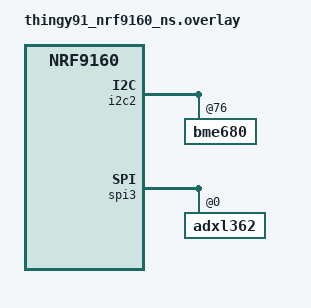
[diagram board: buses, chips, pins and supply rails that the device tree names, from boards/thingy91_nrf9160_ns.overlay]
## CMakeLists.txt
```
#
# Copyright (c) 2021 Nordic Semiconductor ASA
#
# SPDX-License-Identifier: LicenseRef-Nordic-5-Clause
#

list(APPEND ZEPHYR_EXTRA_MODULES
  ${CMAKE_CURRENT_SOURCE_DIR}/ina3221
  )

cmake_minimum_required(VERSION 3.20.0)

find_package(Zephyr REQUIRED HINTS $ENV{ZEPHYR_BASE})
project(asset_tracker_v2)
zephyr_compile_definitions(PROJECT_NAME=${PROJECT_NAME})

# NORDIC SDK APP START
target_sources(app PRIVATE src/main.c)
# NORDIC SDK APP END

# Include source directory
target_include_directories(app PRIVATE src)
target_include_directories(app PRIVATE include/${BOARD}/)
zephyr_include_directories_ifdef(CONFIG_MEMFAULT configuration/memfault)

# Application directories
add_subdirectory(src/modules)
add_subdirectory(src/events)

add_subdirectory_ifdef(CONFIG_CLOUD_MODULE src/cloud)
add_subdirectory_ifdef(CONFIG_SENSOR_MODULE src/ext_sensors)
add_subdirectory_ifdef(CONFIG_WATCHDOG_APPLICATION src/watchdog)

# Include nRF modem library header file for PC builds.
# These are used throughout the application in type definitions.
if (CONFIG_BOARD_QEMU_X86 OR CONFIG_BOARD_NATIVE_POSIX)
        target_include_directories(app PRIVATE ${NRFXLIB_DIR}/nrf_modem/include/)

        # Make folder containing certificates global so that it can be located by the configured
        # cloud library.
        zephyr_include_directories(src/cloud-certs)

        target_compile_options(app PRIVATE
	        -DCONFIG_LTE_NEIGHBOR_CELLS_MAX=10)
endif()
```

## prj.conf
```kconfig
#
# Copyright (c) 2021 Nordic Semiconductor ASA
#
# SPDX-License-Identifier: LicenseRef-Nordic-5-Clause
#

# General config
CONFIG_PICOLIBC=y
CONFIG_ASSERT=y
CONFIG_REBOOT=y
CONFIG_FPU=y

# Heap and stacks
CONFIG_HEAP_MEM_POOL_SIZE=47250
CONFIG_MAIN_STACK_SIZE=2048
CONFIG_SYSTEM_WORKQUEUE_STACK_SIZE=4096
CONFIG_HW_STACK_PROTECTION=y
# Increase AT monitor heap size to be able to fit both neighbor cell measurement
# and other AT notifications that may come in rapid succession.
CONFIG_AT_MONITOR_HEAP_SIZE=1024

# Logging
CONFIG_LOG=y
CONFIG_LOG_MODE_DEFERRED=y

# nRF modem library
CONFIG_NRF_MODEM_LIB=y
CONFIG_NRF_MODEM_LIB_ON_FAULT_APPLICATION_SPECIFIC=y

# AT Host library - Used to send AT commands directy from an UART terminal and to allow
#		    integration with nRF Connect for Desktop LTE Link monitor application.
CONFIG_AT_HOST_LIBRARY=y

# Network
CONFIG_NETWORKING=y
CONFIG_NET_NATIVE=n
CONFIG_NET_SOCKETS=y
CONFIG_NET_SOCKETS_OFFLOAD=y
CONFIG_NET_IPV6=y
CONFIG_NET_IPV4=y

# LTE link control
## Power saving timers.
### 320 hours PSM.
CONFIG_LTE_PSM_REQ=y
CONFIG_LTE_PSM_REQ_RPTAU="11000001"
### 20 seconds active time.
CONFIG_LTE_PSM_REQ_RAT="00001010"

# Settings - Used to store real-time device configuration to flash.
CONFIG_SETTINGS=y
CONFIG_SETTINGS_FCB=y
CONFIG_FCB=y

# FOTA
CONFIG_FOTA_DOWNLOAD=y
CONFIG_DFU_TARGET=y
CONFIG_DOWNLOAD_CLIENT=y
CONFIG_DOWNLOAD_CLIENT_HTTP_FRAG_SIZE_1024=y
CONFIG_DOWNLOAD_CLIENT_STACK_SIZE=4096
CONFIG_DOWNLOAD_CLIENT_BUF_SIZE=2300
CONFIG_DOWNLOAD_CLIENT_MAX_HOSTNAME_SIZE=128

# Flash - Used in FOTA, settings and storage for P-GPS.
CONFIG_FLASH=y
CONFIG_FLASH_PAGE_LAYOUT=y
CONFIG_FLASH_MAP=y
CONFIG_STREAM_FLASH=y
CONFIG_MPU_ALLOW_FLASH_WRITE=y

# MCUBOOT
CONFIG_BOOTLOADER_MCUBOOT=y
CONFIG_IMG_MANAGER=y
CONFIG_MCUBOOT_IMG_MANAGER=y
CONFIG_IMG_ERASE_PROGRESSIVELY=y
CONFIG_SECURE_BOOT=y
CONFIG_BUILD_S1_VARIANT=y

# Watchdog
CONFIG_WATCHDOG_APPLICATION=y

# Application Event Manager
CONFIG_APP_EVENT_MANAGER=y
CONFIG_APP_EVENT_MANAGER_LOG_EVENT_TYPE=n

# cJSON - Used in cloud data encoding.
CONFIG_CJSON_LIB=y

# CAF - Common Application Framework
CONFIG_CAF=y
CONFIG_LED=y
CONFIG_CAF_LEDS=y
CONFIG_CAF_INIT_LOG_LED_READY_EVENTS=n
CONFIG_CAF_INIT_LOG_LED_EVENTS=n
CONFIG_CAF_INIT_LOG_MODULE_STATE_EVENTS=n

# Location related configuration
CONFIG_LOCATION=y
CONFIG_LOCATION_REQUEST_DEFAULT_METHOD_FIRST_GNSS=y
CONFIG_LOCATION_REQUEST_DEFAULT_METHOD_SECOND_CELLULAR=y
CONFIG_LOCATION_REQUEST_DEFAULT_GNSS_TIMEOUT=90000
CONFIG_LOCATION_DATA_DETAILS=y
CONFIG_LOCATION_LOG_LEVEL_WRN=y

# Default cloud transport service
CONFIG_NRF_CLOUD_MQTT=y
CONFIG_HW_ID_LIBRARY=y
CONFIG_HW_ID_LIBRARY_SOURCE_IMEI=y

CONFIG_CLOUD_CLIENT_ID_IMEI_PREFIX="oob-"
CONFIG_MQTT_HELPER_SEC_TAG=4242
CONFIG_NRF_CLOUD_SEC_TAG=4242

CONFIG_BME680=n
CONFIG_BME68X_IAQ=y
```

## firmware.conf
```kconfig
CONFIG_MEMFAULT_NCS_PROJECT_KEY="m8U6bBczNz1N8Xi3M8kAKjAMKu9833YA"
CONFIG_DEBUG_MODULE_MEMFAULT_CHUNK_SIZE_MAX=1024
CONFIG_DEBUG_MODULE_MEMFAULT_HEARTBEAT_INTERVAL_SEC=1800
CONFIG_AWS_IOT_BROKER_HOST_NAME="iot.thingy.rocks"
CONFIG_DEBUG_MODULE_MEMFAULT_UPDATES_MIN_INTERVAL_SEC=30
CONFIG_MEMFAULT_NCS_IMPLEMENT_METRICS_COLLECTION=n
CONFIG_MQTT_KEEPALIVE=180
```

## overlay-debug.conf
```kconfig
#
# Copyright (c) 2021 Nordic Semiconductor ASA
#
# SPDX-License-Identifier: LicenseRef-Nordic-5-Clause
#

# Forces a maximal log level for all modules.
# Modules saturates their specified level if it is greater than this option,
# otherwise they use the level specified by this option instead of their default
# or whatever was manually set. Levels are:
#
# 0 OFF, logging is turned off
# 1 ERROR, maximal level set to LOG_LEVEL_ERR
# 2 WARNING, maximal level set to LOG_LEVEL_WRN
# 3 INFO, maximal level set to LOG_LEVEL_INFO
# 4 DEBUG, maximal level set to LOG_LEVEL_DBG
CONFIG_LOG_MAX_LEVEL=4

# Increase log buffer size to prevent logs being dropped.
CONFIG_LOG_BUFFER_SIZE=2048

# Disable routing of printk() through the logging subsystem.
# This is a workaround to ensure that long strings are printed properly.
CONFIG_LOG_PRINTK=n

# Module debug configurations.
CONFIG_APPLICATION_MODULE_LOG_LEVEL_DBG=y
CONFIG_CLOUD_MODULE_LOG_LEVEL_DBG=y
CONFIG_DATA_MODULE_LOG_LEVEL_DBG=y
CONFIG_LOCATION_MODULE_LOG_LEVEL_DBG=y
CONFIG_MODEM_MODULE_LOG_LEVEL_DBG=y
CONFIG_SENSOR_MODULE_LOG_LEVEL_DBG=y
CONFIG_UI_MODULE_LOG_LEVEL_DBG=y
CONFIG_UTIL_MODULE_LOG_LEVEL_DBG=y
CONFIG_DEBUG_MODULE_LOG_LEVEL_DBG=y

# Cloud integration layer debug logging
CONFIG_CLOUD_INTEGRATION_LOG_LEVEL_DBG=y

# Application Watchdog debug logging
CONFIG_WATCHDOG_LOG_LEVEL_DBG=y

# Cloud codec debug logging
CONFIG_CLOUD_CODEC_LOG_LEVEL_DBG=y

# Location library
CONFIG_LOCATION_LOG_LEVEL_DBG=y

# nRF Cloud
CONFIG_NRF_CLOUD_LOG_LEVEL_DBG=y

# Date time
CONFIG_DATE_TIME_LOG_LEVEL_DBG=y

# Settings
CONFIG_SETTINGS_LOG_LEVEL_DBG=y

# Flash
CONFIG_STREAM_FLASH_LOG_LEVEL_DBG=y

# Debug module
CONFIG_DEBUG_MODULE=y

# QoS library
CONFIG_QOS_LOG_LEVEL_DBG=y
CONFIG_NRF_MODEM_LIB_TRACE=y
```

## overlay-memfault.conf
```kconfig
#
# Copyright (c) 2021 Nordic Semiconductor ASA
#
# SPDX-License-Identifier: LicenseRef-Nordic-5-Clause
#

CONFIG_MEMFAULT=y
CONFIG_MEMFAULT_NCS_PROJECT_KEY=""
CONFIG_MEMFAULT_NCS_DEVICE_ID_IMEI=y
CONFIG_MEMFAULT_NCS_LTE_METRICS=y
CONFIG_MEMFAULT_NCS_STACK_METRICS=y
CONFIG_MEMFAULT_LOGGING_ENABLE=y

CONFIG_MEMFAULT_ROOT_CERT_STORAGE_NRF9160_MODEM=y
# There is a race with the credential provisioning and starting LTE network search if automatic
# provisioning is used. Therefore it's disabled, and the app controls it.
CONFIG_MEMFAULT_NCS_PROVISION_CERTIFICATES=n
CONFIG_MODEM_KEY_MGMT=y

CONFIG_MEMFAULT_COREDUMP_COLLECT_BSS_REGIONS=y

# Increase the stack size of the system workqueue in case Memfault is enabled. If the debug module
# is configured to forward Memfault data via an external transport the data will be carried on
# the system workqueue using Application Event Manager events.
CONFIG_SYSTEM_WORKQUEUE_STACK_SIZE=3584
CONFIG_DEBUG_MODULE=y

# Increase the event storage size so that all metrics generated by the asset tracker application
# are reliably sent to the memfault cloud.
CONFIG_MEMFAULT_EVENT_STORAGE_SIZE=2048

# Tune config for thingy world demo
CONFIG_DEBUG_MODULE_MEMFAULT_HEARTBEAT_INTERVAL_SEC=1800
CONFIG_DEBUG_MODULE_MEMFAULT_CHUNK_SIZE_MAX=1024
CONFIG_DEBUG_MODULE_MEMFAULT_UPDATES_MIN_INTERVAL_SEC=30
CONFIG_MEMFAULT_NCS_IMPLEMENT_METRICS_COLLECTION=n
CONFIG_MQTT_KEEPALIVE=180
```

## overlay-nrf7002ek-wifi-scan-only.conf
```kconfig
#
# Copyright (c) 2022 Nordic Semiconductor ASA
#
# SPDX-License-Identifier: LicenseRef-Nordic-5-Clause
#

# Overlay to use nRF7002 EK on top of nrf91 DK for Wi-Fi scanning

# Disable modem traces as UART1 is disabled
CONFIG_NRF_MODEM_LIB_TRACE=n

# Does not work with buttons and LEDs
CONFIG_UI_MODULE=n
CONFIG_SENSOR_MODULE=n
CONFIG_LED_CONTROL=n
CONFIG_LED=n
CONFIG_LED_GPIO=n
CONFIG_CAF_LEDS=n
CONFIG_DK_LIBRARY=n

# Actual configs for the Wi-Fi
CONFIG_WIFI=y
CONFIG_WIFI_NRF700X=y
# Align this with CONFIG_LOCATION_METHOD_WIFI_SCANNING_RESULTS_MAX_CNT
CONFIG_WIFI_MGMT_SCAN_MAX_BSS_CNT=10

# Wi-Fi location
CONFIG_LOCATION_METHOD_WIFI=y
CONFIG_LOCATION_METHOD_GNSS=n
CONFIG_LOCATION_REQUEST_DEFAULT_METHOD_FIRST_WIFI=y
CONFIG_LOCATION_REQUEST_DEFAULT_METHOD_SECOND_CELLULAR=y

# Align this with CONFIG_WIFI_MGMT_SCAN_MAX_BSS_CNT
CONFIG_LOCATION_METHOD_WIFI_SCANNING_RESULTS_MAX_CNT=10
CONFIG_LOCATION_WORKQUEUE_STACK_SIZE=8192
# Needed to handle more scan results
CONFIG_HEAP_MEM_POOL_SIZE=60000

# Not for LTE throughput testing
CONFIG_NRF_MODEM_LIB_SHMEM_TX_SIZE=4096
CONFIG_NRF_MODEM_LIB_SHMEM_RX_SIZE=4096

# Scan only using offload API
CONFIG_WPA_SUPP=n

# For nRF9160 the default is socket interface
CONFIG_NET_DEFAULT_IF_ETHERNET=y
CONFIG_MBEDTLS=n
CONFIG_NORDIC_SECURITY_BACKEND=n

# Networking
CONFIG_NET_L2_ETHERNET=y
CONFIG_NET_NATIVE=y
CONFIG_NET_IPV4=y
CONFIG_NET_DHCPV4=y
CONFIG_NET_STATISTICS=y
CONFIG_NET_STATISTICS_WIFI=y
CONFIG_NET_STATISTICS_USER_API=y
CONFIG_NET_CONTEXT_SYNC_RECV=y

# Memory configurations
CONFIG_NET_BUF_RX_COUNT=8
CONFIG_NET_BUF_TX_COUNT=8
CONFIG_NET_PKT_RX_COUNT=1
CONFIG_NET_PKT_TX_COUNT=1
CONFIG_NET_TX_STACK_SIZE=4096
CONFIG_NET_RX_STACK_SIZE=4096
CONFIG_NET_TC_TX_COUNT=1
CONFIG_NET_MAX_CONTEXTS=5
CONFIG_NET_MGMT_EVENT_STACK_SIZE=1024

CONFIG_ASSET_TRACKER_V2_LTO=y
```

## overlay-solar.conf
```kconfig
#
# Copyright (c) 2022 Nordic Semiconductor ASA
#
# SPDX-License-Identifier: LicenseRef-Nordic-5-Clause
#

CONFIG_INA3221=y
CONFIG_LOCATION_METHOD_GNSS=n
CONFIG_LOCATION_REQUEST_DEFAULT_METHOD_FIRST_GNSS=n
CONFIG_LOCATION_REQUEST_DEFAULT_METHOD_FIRST_CELLULAR=y
```

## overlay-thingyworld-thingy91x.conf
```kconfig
# Actual configs for the Wi-Fi
CONFIG_WIFI=y
CONFIG_WIFI_NRF700X=y
CONFIG_WIFI_NRF700X_SKIP_LOCAL_ADMIN_MAC=y
# Align this with CONFIG_LOCATION_METHOD_WIFI_SCANNING_RESULTS_MAX_CNT
CONFIG_NRF_WIFI_SCAN_MAX_BSS_CNT=10

# Wi-Fi location
CONFIG_LOCATION_METHOD_WIFI=y
CONFIG_LOCATION_METHOD_GNSS=n
CONFIG_LOCATION_REQUEST_DEFAULT_METHOD_FIRST_WIFI=y
CONFIG_LOCATION_REQUEST_DEFAULT_METHOD_SECOND_CELLULAR=y

# Align this with CONFIG_NRF_WIFI_SCAN_MAX_BSS_CNT
CONFIG_LOCATION_METHOD_WIFI_SCANNING_RESULTS_MAX_CNT=10
CONFIG_LOCATION_WORKQUEUE_STACK_SIZE=8192
# Needed to handle more scan results
CONFIG_HEAP_MEM_POOL_SIZE=60000

# Not for LTE throughput testing
CONFIG_NRF_MODEM_LIB_SHMEM_TX_SIZE=4096
CONFIG_NRF_MODEM_LIB_SHMEM_RX_SIZE=4096

# Scan only using offload API
CONFIG_WPA_SUPP=n

# For nRF9160 the default is socket interface
CONFIG_NET_DEFAULT_IF_ETHERNET=y
CONFIG_MBEDTLS=n
CONFIG_NORDIC_SECURITY_BACKEND=n

# Networking
CONFIG_NET_L2_ETHERNET=y
CONFIG_NET_NATIVE=y
CONFIG_NET_IPV4=y
CONFIG_NET_DHCPV4=y
CONFIG_NET_STATISTICS=y
CONFIG_NET_STATISTICS_WIFI=y
CONFIG_NET_STATISTICS_USER_API=y
CONFIG_NET_CONTEXT_SYNC_RECV=y

# Disable unused networking options
CONFIG_NET_IPV6=n

# Memory configurations
CONFIG_NET_BUF_RX_COUNT=8
CONFIG_NET_BUF_TX_COUNT=8
CONFIG_NET_PKT_RX_COUNT=1
CONFIG_NET_PKT_TX_COUNT=1
CONFIG_NET_TX_STACK_SIZE=4096
CONFIG_NET_RX_STACK_SIZE=4096
CONFIG_NET_TC_TX_COUNT=1
CONFIG_NET_MAX_CONTEXTS=5
CONFIG_NET_MGMT_EVENT_STACK_SIZE=1024

# Memory configurations
CONFIG_NET_BUF_RX_COUNT=8
CONFIG_NET_BUF_TX_COUNT=8
CONFIG_NET_PKT_RX_COUNT=1
CONFIG_NET_PKT_TX_COUNT=1
CONFIG_NET_TX_STACK_SIZE=4096
CONFIG_NET_RX_STACK_SIZE=4096
CONFIG_NET_TC_TX_COUNT=1
CONFIG_NET_MAX_CONTEXTS=5
CONFIG_NET_MGMT_EVENT_STACK_SIZE=1024

CONFIG_AWS_IOT=y
CONFIG_AWS_IOT_TOPIC_UPDATE_DELTA_SUBSCRIBE=y
CONFIG_AWS_IOT_TOPIC_GET_REJECTED_SUBSCRIBE=y
CONFIG_AWS_IOT_AUTO_DEVICE_SHADOW_REQUEST=y
CONFIG_MQTT_HELPER_RX_TX_BUFFER_SIZE=2048

# Options that must be configured in order to establish a connection.
CONFIG_MQTT_HELPER_SEC_TAG=43
CONFIG_AWS_IOT_BROKER_HOST_NAME="iot.thingy.rocks"

# MQTT Transport library
# Maximum specified MQTT keepalive timeout for AWS IoT is 1200 seconds.
CONFIG_MQTT_KEEPALIVE=1200

CONFIG_ASSET_TRACKER_V2_LTO=y

CONFIG_BME680=n
CONFIG_BME68X_IAQ=y
```

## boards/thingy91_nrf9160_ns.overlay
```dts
/*
 * Copyright (c) 2021 Nordic Semiconductor ASA
 *
 * SPDX-License-Identifier: LicenseRef-Nordic-5-Clause
 */

/ {
	aliases {
		temp-sensor = &bme680;
		humidity-sensor = &bme680;
		pressure-sensor = &bme680;
		accelerometer = &adxl362;
		impact-sensor = &adxl372;
	};
	pwmleds {
		buzzer_pwm: buzzer_pwm {
			pwms = <&pwm1 0 PWM_MSEC(20) PWM_POLARITY_NORMAL>;
		};
	};
};

&i2c2 {
	bme680: bme680@76 {};
};

&spi3 {
	adxl362: adxl362@0 {
		wakeup-mode;
		autosleep;
	};
};
```

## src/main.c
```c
/*
 * Copyright (c) 2021 Nordic Semiconductor ASA
 *
 * SPDX-License-Identifier: LicenseRef-Nordic-5-Clause
 */

#include <zephyr/kernel.h>
#include <stdio.h>
#include <string.h>
#include <stdlib.h>
#include <app_event_manager.h>
#include <modem/nrf_modem_lib.h>
#include <zephyr/sys/reboot.h>
#include <net/nrf_cloud.h>

/* Module name is used by the Application Event Manager macros in this file */
#define MODULE main
#include <caf/events/module_state_event.h>

#include "modules_common.h"
#include "events/app_module_event.h"
#include "events/cloud_module_event.h"
#include "events/data_module_event.h"
#include "events/sensor_module_event.h"
#include "events/util_module_event.h"
#include "events/modem_module_event.h"

#include <zephyr/logging/log.h>
#include <zephyr/logging/log_ctrl.h>

LOG_MODULE_REGISTER(MODULE, CONFIG_APPLICATION_MODULE_LOG_LEVEL);

/* Message structure. Events from other modules are converted to messages
 * in the Application Event Manager handler, and then queued up in the message queue
 * for processing in the main thread.
 */
struct app_msg_data {
	union {
		struct cloud_module_event cloud;
		struct sensor_module_event sensor;
		struct data_module_event data;
		struct util_module_event util;
		struct modem_module_event modem;
		struct app_module_event app;
	} module;
};

/* Application module super states. */
static enum state_type {
	STATE_INIT,
	STATE_RUNNING,
	STATE_SHUTDOWN
} state;

/* Application sub states. The application can be in either active or passive
 * mode.
 *
 * Active mode: Sensor data and GNSS position is acquired at a configured
 *		interval and sent to cloud.
 *
 * Passive mode: Sensor data and GNSS position is acquired when movement is
 *		 detected, or after the configured movement timeout occurs.
 */
static enum sub_state_type {
	SUB_STATE_ACTIVE_MODE,
	SUB_STATE_PASSIVE_MODE,
} sub_state;

/* Internal copy of the device configuration. */
static struct cloud_data_cfg app_cfg;

/* Variable that keeps track whether modem static data has been successfully sampled by the
 * modem module. Modem static data does not change and only needs to be sampled and sent to cloud
 * once.
 */
static bool modem_static_sampled;

/* Variable that is set high whenever a sample request is ongoing. */
static bool sample_request_ongoing;

/* Variable that is set high whenever the device is considered active (under movement). */
static bool activity;

/* Timer callback used to signal when timeout has occurred both in active
 * and passive mode.
 */
static void data_sample_timer_handler(struct k_timer *timer);

/* Application module message queue. */
#define APP_QUEUE_ENTRY_COUNT		10
#define APP_QUEUE_BYTE_ALIGNMENT	4

/* Data fetching timeouts */
#define DATA_FETCH_TIMEOUT_DEFAULT 2

K_MSGQ_DEFINE(msgq_app, sizeof(struct app_msg_data), APP_QUEUE_ENTRY_COUNT,
	      APP_QUEUE_BYTE_ALIGNMENT);

/* Data sample timer used in active mode. */
K_TIMER_DEFINE(data_sample_timer, data_sample_timer_handler, NULL);

/* Movement timer used to detect movement timeouts in passive mode. */
K_TIMER_DEFINE(movement_timeout_timer, data_sample_timer_handler, NULL);

/* Movement resolution timer decides the period after movement that consecutive
 * movements are ignored and do not cause data collection. This is used to
 * lower power consumption by limiting how often GNSS search is performed and
 * data is sent on air.
 */
K_TIMER_DEFINE(movement_resolution_timer, NULL, NULL);

/* Module data structure to hold information of the application module, which
 * opens up for using convenience functions available for modules.
 */
static struct module_data self = {
	.name = "app",
	.msg_q = &msgq_app,
	.supports_shutdown = true,
};

/* Convenience functions used in internal state handling. */
static char *state2str(enum state_type new_state)
{
	switch (new_state) {
	case STATE_INIT:
		return "STATE_INIT";
	case STATE_RUNNING:
		return "STATE_RUNNING";
	case STATE_SHUTDOWN:
		return "STATE_SHUTDOWN";
	default:
		return "Unknown";
	}
}

static char *sub_state2str(enum sub_state_type new_state)
{
	switch (new_state) {
	case SUB_STATE_ACTIVE_MODE:
		return "SUB_STATE_ACTIVE_MODE";
	case SUB_STATE_PASSIVE_MODE:
		return "SUB_STATE_PASSIVE_MODE";
	default:
		return "Unknown";
	}
}

static void state_set(enum state_type new_state)
{
	if (new_state == state) {
		LOG_DBG("State: %s", state2str(state));
		return;
	}

	LOG_DBG("State transition %s --> %s",
		state2str(state),
		state2str(new_state));

	state = new_state;
}

static void sub_state_set(enum sub_state_type new_state)
{
	if (new_state == sub_state) {
		LOG_DBG("Sub state: %s", sub_state2str(sub_state));
		return;
	}

	LOG_DBG("Sub state transition %s --> %s",
		sub_state2str(sub_state),
		sub_state2str(new_state));

	sub_state = new_state;
}

#if defined(CONFIG_NRF_MODEM_LIB)

static void on_modem_lib_dfu(int dfu_res, void *ctx)
{
	switch (dfu_res) {
	case NRF_MODEM_DFU_RESULT_OK:
		LOG_DBG("MODEM UPDATE OK. Running new firmware");
		break;
	case NRF_MODEM_DFU_RESULT_UUID_ERROR:
	case NRF_MODEM_DFU_RESULT_AUTH_ERROR:
		LOG_ERR("MODEM UPDATE ERROR 0x%x. Running old firmware", dfu_res);
		break;
	case NRF_MODEM_DFU_RESULT_HARDWARE_ERROR:
	case NRF_MODEM_DFU_RESULT_INTERNAL_ERROR:
		LOG_ERR("MODEM UPDATE FATAL ERROR 0x%x. Modem failure", dfu_res);
		break;
	case NRF_MODEM_DFU_RESULT_VOLTAGE_LOW:
		LOG_ERR("MODEM UPDATE CANCELLED 0x%x.", dfu_res);
		LOG_ERR("Please reboot once you have sufficient power for the DFU");
		break;
	default:
		/* Unknown DFU result code */
		LOG_ERR("nRF modem DFU failed, error: 0x%x", dfu_res);
		break;
	}
}

NRF_MODEM_LIB_ON_DFU_RES(main_dfu_hook, on_modem_lib_dfu, NULL);

/* Check the return code from nRF modem library initialization to ensure that
 * the modem is rebooted or an error condition occurred during library initialization.
 */
static void modem_init(void)
{
	int ret;

	ret = nrf_modem_lib_init();
	if (ret == 0) {
		LOG_DBG("nRF Modem Library initialized successfully");
		return;
	}

	LOG_ERR("nRF modem lib initialization failed, error: %d", ret);

#if defined(CONFIG_NRF_CLOUD_FOTA)
	/* Ignore return value, rebooting below */
	(void)nrf_cloud_fota_pending_job_validate(NULL);
#endif
	LOG_DBG("Rebooting...");
	LOG_PANIC();
	sys_reboot(SYS_REBOOT_COLD);
}
#endif /* CONFIG_NRF_MODEM_LIB */

/* Application Event Manager handler. Puts event data into messages and adds them to the
 * application message queue.
 */
static bool app_event_handler(const struct app_event_header *aeh)
{
	struct app_msg_data msg = {0};
	bool enqueue_msg = false;

	if (is_cloud_module_event(aeh)) {
		struct cloud_module_event *evt = cast_cloud_module_event(aeh);

		msg.module.cloud = *evt;
		enqueue_msg = true;
	}

	if (is_app_module_event(aeh)) {
		struct app_module_event *evt = cast_app_module_event(aeh);

		msg.module.app = *evt;
		enqueue_msg = true;
	}

	if (is_data_module_event(aeh)) {
		struct data_module_event *evt = cast_data_module_event(aeh);

		msg.module.data = *evt;
		enqueue_msg = true;
	}

	if (is_sensor_module_event(aeh)) {
		struct sensor_module_event *evt = cast_sensor_module_event(aeh);

		msg.module.sensor = *evt;
		enqueue_msg = true;
	}

	if (is_util_module_event(aeh)) {
		struct util_module_event *evt = cast_util_module_event(aeh);

		msg.module.util = *evt;
		enqueue_msg = true;
	}

	if (is_modem_module_event(aeh)) {
		struct modem_module_event *evt = cast_modem_module_event(aeh);

		msg.module.modem = *evt;
		enqueue_msg = true;
	}

	if (enqueue_msg) {
		int err = module_enqueue_msg(&self, &msg);

		if (err) {
			LOG_ERR("Message could not be enqueued");
			SEND_ERROR(app, APP_EVT_ERROR, err);
		}
	}

	return false;
}

static void data_sample_timer_handler(struct k_timer *timer)
{
	ARG_UNUSED(timer);

	/* Cancel if a previous sample request has not completed. */
	if (sample_request_ongoing) {
		return;
	}

	/* Cancel if the data sample timer expired and device is not under activity in passive mode.
	 * Movement timeout timer triggers sampling also when there is no movement.
	 */
	if (timer == &data_sample_timer && sub_state == SUB_STATE_PASSIVE_MODE && !activity) {
		return;
	}

	SEND_EVENT(app, APP_EVT_DATA_GET_ALL);
}

/* Static module functions. */
static void passive_mode_timers_start_all(void)
{
	LOG_DBG("Device mode: Passive");
	LOG_DBG("Start movement timeout: %d seconds interval", app_cfg.movement_timeout);

	LOG_DBG("%d seconds until movement can trigger a new data sample/publication",
		app_cfg.movement_resolution);

	k_timer_start(&data_sample_timer,
		      K_SECONDS(app_cfg.movement_resolution),
		      K_SECONDS(app_cfg.movement_resolution));

	k_timer_start(&movement_resolution_timer,
		      K_SECONDS(app_cfg.movement_resolution),
		      K_SECONDS(0));

	k_timer_start(&movement_timeout_timer,
		      K_SECONDS(app_cfg.movement_timeout),
		      K_SECONDS(app_cfg.movement_timeout));
}

static void active_mode_timers_start_all(void)
{
	LOG_DBG("Device mode: Active");
	LOG_DBG("Start data sample timer: %d seconds interval", app_cfg.active_wait_timeout);

	k_timer_start(&data_sample_timer,
		      K_SECONDS(app_cfg.active_wait_timeout),
		      K_SECONDS(app_cfg.active_wait_timeout));

	k_timer_stop(&movement_resolution_timer);
	k_timer_stop(&movement_timeout_timer);
}

static void activity_event_handle(enum sensor_module_event_type sensor_event)
{
	__ASSERT(((sensor_event == SENSOR_EVT_MOVEMENT_ACTIVITY_DETECTED) ||
		  (sensor_event == SENSOR_EVT_MOVEMENT_INACTIVITY_DETECTED)),
		  "Unknown event");

	activity = (sensor_event == SENSOR_EVT_MOVEMENT_ACTIVITY_DETECTED) ? true : false;

	if (sample_request_ongoing) {
		LOG_DBG("Sample request ongoing, abort request.");
		return;
	}

	if ((sensor_event == SENSOR_EVT_MOVEMENT_ACTIVITY_DETECTED) &&
	    (k_timer_remaining_get(&movement_resolution_timer) != 0)) {
		LOG_DBG("Movement resolution timer has not expired, abort request.");
		return;
	}

	SEND_EVENT(app, APP_EVT_DATA_GET_ALL);
	passive_mode_timers_start_all();
}

static void data_get(void)
{
	struct app_module_event *app_module_event = new_app_module_event();

	__ASSERT(app_module_event, "Not enough heap left to allocate event");

	size_t count = 0;

	/* Set a low sample timeout. If location is requested, the sample timeout
	 * will be increased to accommodate the location request.
	 */
	app_module_event->timeout = DATA_FETCH_TIMEOUT_DEFAULT;

	/* Specify which data that is to be included in the transmission. */
	app_module_event->data_list[count++] = APP_DATA_MODEM_DYNAMIC;
	if (!modem_static_sampled) {
		app_module_event->data_list[count++] = APP_DATA_MODEM_STATIC;
	}

	if (IS_ENABLED(CONFIG_SENSOR_MODULE)) {
		app_module_event->data_list[count++] = APP_DATA_BATTERY;
		app_module_event->data_list[count++] = APP_DATA_ENVIRONMENTAL;
		if (IS_ENABLED(CONFIG_INA3221)) {
			app_module_event->data_list[count++] = APP_DATA_SOLAR;
		}
	}

	if (IS_ENABLED(CONFIG_LOCATION_MODULE) &&
	    (!app_cfg.no_data.neighbor_cell || !app_cfg.no_data.gnss || !app_cfg.no_data.wifi)) {
		app_module_event->data_list[count++] = APP_DATA_LOCATION;

		/* Set application module timeout when location sampling is requested.
		 * This is selected to be long enough so that most of the GNSS would
		 * have enough time to run to get a fix. We also want it to be smaller than
		 * the sampling interval (120s). So, 110s was selected but we take
		 * minimum of sampling interval minus 5 (just some selected number) and 110.
		 * And mode (active or passive) is taken into account.
		 * If the timeout would become smaller than 5s, we want to ensure some time for
		 * the modules so the minimum value for application module timeout is 5s.
		 */
		app_module_event->timeout = (app_cfg.active_mode) ?
			MIN(app_cfg.active_wait_timeout - 5, 110) :
			MIN(app_cfg.movement_resolution - 5, 110);
		app_module_event->timeout = MAX(app_module_event->timeout, 5);
	}

	/* Set list count to number of data types passed in app_module_event. */
	app_module_event->count = count;
	app_module_event->type = APP_EVT_DATA_GET;

	APP_EVENT_SUBMIT(app_module_event);
}

/* Message handler for STATE_INIT. */
static void on_state_init(struct app_msg_data *msg)
{
	if (IS_EVENT(msg, data, DATA_EVT_CONFIG_INIT)) {
		/* Keep a copy of the new configuration. */
		app_cfg = msg->module.data.data.cfg;

		if (app_cfg.active_mode) {
			active_mode_timers_start_all();
		} else {
			passive_mode_timers_start_all();
		}

		state_set(STATE_RUNNING);
		sub_state_set(app_cfg.active_mode ? SUB_STATE_ACTIVE_MODE :
						    SUB_STATE_PASSIVE_MODE);
	}
}

/* Message handler for STATE_RUNNING. */
static void on_state_running(struct app_msg_data *msg)
{
	/* A flag used to trigger sampling when connected to the cloud for the first time. Cloud
	 * connection re-establishment should not trigger sampling.
	 */
	static bool initial_sampling_requested;

	if (IS_EVENT(msg, cloud, CLOUD_EVT_CONNECTED) && !initial_sampling_requested) {
		data_get();

		initial_sampling_requested = true;
	}

	if (IS_EVENT(msg, app, APP_EVT_DATA_GET_ALL)) {
		data_get();
	}
}

/* Message handler for SUB_STATE_PASSIVE_MODE. */
void on_sub_state_passive(struct app_msg_data *msg)
{
	if (IS_EVENT(msg, data, DATA_EVT_CONFIG_READY)) {
		/* Keep a copy of the new configuration. */
		app_cfg = msg->module.data.data.cfg;

		if (app_cfg.active_mode) {
			active_mode_timers_start_all();
			sub_state_set(SUB_STATE_ACTIVE_MODE);
			return;
		}

		passive_mode_timers_start_all();
	}

	if ((IS_EVENT(msg, sensor, SENSOR_EVT_MOVEMENT_ACTIVITY_DETECTED)) ||
	    (IS_EVENT(msg, sensor, SENSOR_EVT_MOVEMENT_INACTIVITY_DETECTED))) {
		activity_event_handle(msg->module.sensor.type);
	}
}

/* Message handler for SUB_STATE_ACTIVE_MODE. */
static void on_sub_state_active(struct app_msg_data *msg)
{
	if (IS_EVENT(msg, data, DATA_EVT_CONFIG_READY)) {
		/* Keep a copy of the new configuration. */
		app_cfg = msg->module.data.data.cfg;

		if (!app_cfg.active_mode) {
			passive_mode_timers_start_all();
			sub_state_set(SUB_STATE_PASSIVE_MODE);
			return;
		}

		active_mode_timers_start_all();
	}
}

/* Message handler for all states. */
static void on_all_events(struct app_msg_data *msg)
{
	if (IS_EVENT(msg, util, UTIL_EVT_SHUTDOWN_REQUEST)) {
		k_timer_stop(&data_sample_timer);
		k_timer_stop(&movement_timeout_timer);
		k_timer_stop(&movement_resolution_timer);

		SEND_SHUTDOWN_ACK(app, APP_EVT_SHUTDOWN_READY, self.id);
		state_set(STATE_SHUTDOWN);
	}

	if (IS_EVENT(msg, modem, MODEM_EVT_MODEM_STATIC_DATA_READY)) {
		modem_static_sampled = true;
	}

	if (IS_EVENT(msg, app, APP_EVT_DATA_GET)) {
		sample_request_ongoing = true;
	}

	if (IS_EVENT(msg, data, DATA_EVT_DATA_READY)) {
		sample_request_ongoing = false;
	}

	if (IS_EVENT(msg, sensor, SENSOR_EVT_MOVEMENT_IMPACT_DETECTED)) {
		SEND_EVENT(app, APP_EVT_DATA_GET_ALL);
	}
}

int main(void)
{
	int err;
	struct app_msg_data msg = { 0 };

	if (app_event_manager_init()) {
		/* Without the Application Event Manager, the application will not work
		 * as intended. A reboot is required in an attempt to recover.
		 */
		LOG_ERR("Application Event Manager could not be initialized, rebooting...");
		k_sleep(K_SECONDS(5));
		sys_reboot(SYS_REBOOT_COLD);
	} else {
		module_set_state(MODULE_STATE_READY);
		SEND_EVENT(app, APP_EVT_START);

#if defined(CONFIG_NRF_MODEM_LIB)
		modem_init();
#endif
	}

	self.thread_id = k_current_get();

	err = module_start(&self);
	if (err) {
		LOG_ERR("Failed starting module, error: %d", err);
		SEND_ERROR(app, APP_EVT_ERROR, err);
	}

	while (true) {
		module_get_next_msg(&self, &msg);

		switch (state) {
		case STATE_INIT:
			on_state_init(&msg);
			break;
		case STATE_RUNNING:
			switch (sub_state) {
			case SUB_STATE_ACTIVE_MODE:
				on_sub_state_active(&msg);
				break;
			case SUB_STATE_PASSIVE_MODE:
				on_sub_state_passive(&msg);
				break;
			default:
				LOG_ERR("Unknown sub state");
				break;
			}

			on_state_running(&msg);
			break;
		case STATE_SHUTDOWN:
			/* The shutdown state has no transition. */
			break;
		default:
			LOG_ERR("Unknown state");
			break;
		}

		on_all_events(&msg);
	}
	return 0;
}

APP_EVENT_LISTENER(MODULE, app_event_handler);
APP_EVENT_SUBSCRIBE_EARLY(MODULE, cloud_module_event);
APP_EVENT_SUBSCRIBE(MODULE, app_module_event);
APP_EVENT_SUBSCRIBE(MODULE, data_module_event);
APP_EVENT_SUBSCRIBE(MODULE, util_module_event);
APP_EVENT_SUBSCRIBE_FINAL(MODULE, sensor_module_event);
APP_EVENT_SUBSCRIBE_FINAL(MODULE, modem_module_event);
```

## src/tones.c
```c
#include <drivers/pwm.h>
#include <zephyr.h>
#include <device.h>
#include <sys/util.h>

const uint32_t h6 = 506190;
const uint32_t e7 = 379220;
const uint32_t f3 = 5727048;
const uint32_t boop_period = f3;
const uint32_t beep_period = h6;

const struct pwm_dt_spec buzzer = PWM_DT_SPEC_GET(DT_NODELABEL(buzzer_pwm));

void set_tone(uint32_t period) {
        pwm_set_dt(&buzzer, period, period/2);
}

void mute(void) {
        pwm_set_dt(&buzzer, h6, 0);
}

void coin(void) {
        set_tone(h6);
        k_sleep(K_MSEC(75));
        set_tone(e7);
        k_sleep(K_MSEC(225));
        mute();
}

void boop(void) {
        set_tone(boop_period);
        k_sleep(K_MSEC(100));
        mute();
}

void beep(void) {
        set_tone(beep_period);
        k_sleep(K_MSEC(100));
        mute();
}

void gameover(void) {
        const int steps = 4;
        for (int i = 0; i <= steps; ++i) {
                set_tone(beep_period + (boop_period-beep_period)*i/steps);
                k_sleep(K_MSEC(75));
        }
        k_sleep(K_MSEC(50));
        mute();
}
```
